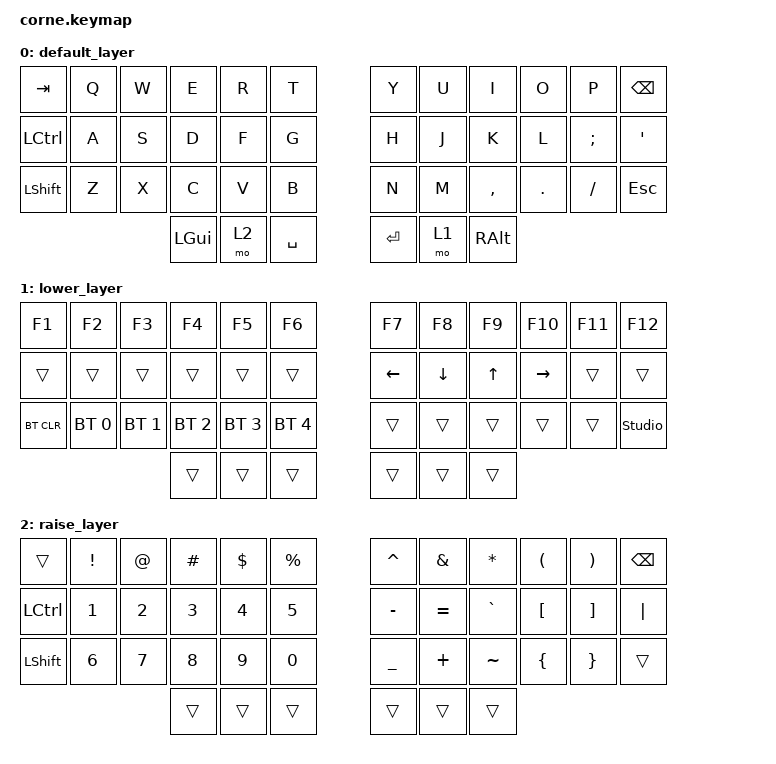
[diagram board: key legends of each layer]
/*
 * Copyright (c) 2020 The ZMK Contributors
 *
 * SPDX-License-Identifier: MIT
 */

#include <behaviors.dtsi>
#include <dt-bindings/zmk/bt.h>
#include <dt-bindings/zmk/keys.h>

/ {
    keymap {
        compatible = "zmk,keymap";

        default_layer {
            // -----------------------------------------------------------------------------------------
            // |  TAB |  Q  |  W  |  E  |  R  |  T  |   |  Y  |  U   |  I  |  O  |  P  | BSPC |
            // | CTRL |  A  |  S  |  D  |  F  |  G  |   |  H  |  J   |  K  |  L  |  ;  |  '   |
            // | SHFT |  Z  |  X  |  C  |  V  |  B  |   |  N  |  M   |  ,  |  .  |  /  | ESC  |
            //                    | GUI | LWR | SPC |   | ENT | RSE  | ALT |

            bindings = <
&kp TAB    &kp Q  &kp W  &kp E     &kp R  &kp T        &kp Y      &kp U  &kp I      &kp O    &kp P     &kp BACKSPACE
&kp LCTRL  &kp A  &kp S  &kp D     &kp F  &kp G        &kp H      &kp J  &kp K      &kp L    &kp SEMI  &kp SQT
&kp LSHFT  &kp Z  &kp X  &kp C     &kp V  &kp B        &kp N      &kp M  &kp COMMA  &kp DOT  &kp FSLH  &kp ESCAPE
                         &kp LGUI  &mo 2  &kp SPACE    &kp ENTER  &mo 1  &kp RALT
            >;
        };

        lower_layer {
            // -----------------------------------------------------------------------------------------
            // |  TAB |  1  |  2  |  3  |  4  |  5  |   |  6  |  7  |  8  |  9  |  0  | BSPC |
            // | BTCLR| BT1 | BT2 | BT3 | BT4 | BT5 |   | LFT | DWN |  UP | RGT |     |      |
            // | SHFT |     |     |     |     |     |   |     |     |     |     |     |      |
            //                    | GUI |     | SPC |   | ENT |     | ALT |

            bindings = <
&kp F1      &kp F2        &kp F3        &kp F4        &kp F5        &kp F6          &kp F7    &kp F8    &kp F9  &kp F10    &kp F11  &kp F12
&trans      &trans        &trans        &trans        &trans        &trans          &kp LEFT  &kp DOWN  &kp UP  &kp RIGHT  &trans   &trans
&bt BT_CLR  &bt BT_SEL 0  &bt BT_SEL 1  &bt BT_SEL 2  &bt BT_SEL 3  &bt BT_SEL 4    &trans    &trans    &trans  &trans     &trans   &studio_unlock
                                        &trans        &trans        &trans          &trans    &trans    &trans
            >;
        };

        raise_layer {
            // -----------------------------------------------------------------------------------------
            // |  TAB |  !  |  @  |  #  |  $  |  %  |   |  ^  |  &  |  *  |  (  |  )  | BSPC |
            // | CTRL |     |     |     |     |     |   |  -  |  =  |  [  |  ]  |  \  |  `   |
            // | SHFT |     |     |     |     |     |   |  _  |  +  |  {  |  }  | "|" |  ~   |
            //                    | GUI |     | SPC |   | ENT |     | ALT |

            bindings = <
&trans     &kp EXCL      &kp AT        &kp HASH      &kp DLLR      &kp PRCNT       &kp CARET  &kp AMPS   &kp ASTRK  &kp LPAR          &kp RPAR           &kp BSPC
&kp LCTRL  &kp NUMBER_1  &kp NUMBER_2  &kp NUMBER_3  &kp NUMBER_4  &kp NUMBER_5    &kp MINUS  &kp EQUAL  &kp GRAVE  &kp LEFT_BRACKET  &kp RIGHT_BRACKET  &kp PIPE
&kp LSHFT  &kp NUMBER_6  &kp NUMBER_7  &kp NUMBER_8  &kp NUMBER_9  &kp NUMBER_0    &kp UNDER  &kp PLUS   &kp TILDE  &kp LEFT_BRACE    &kp RIGHT_BRACE    &trans
                                       &trans        &trans        &trans          &trans     &trans     &trans
            >;
        };
    };
};
